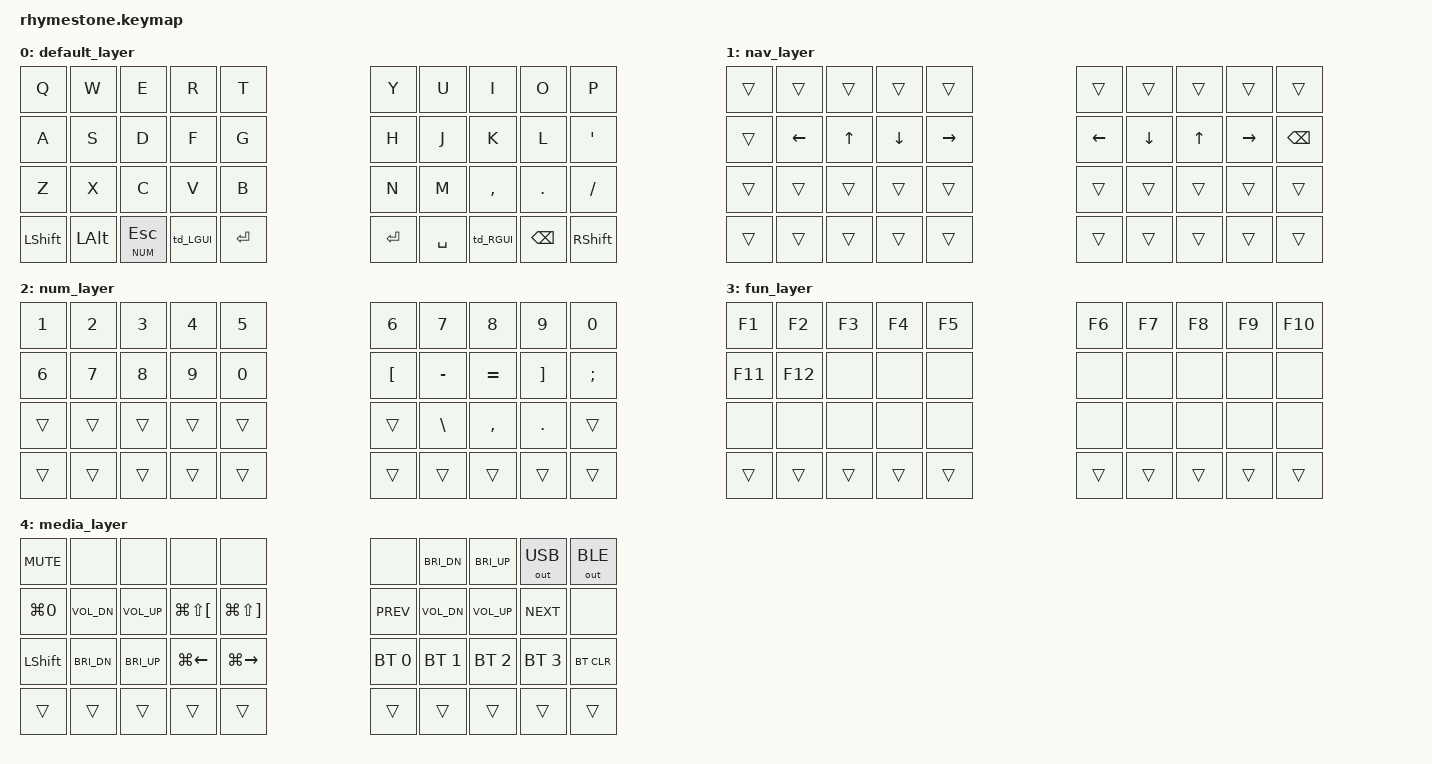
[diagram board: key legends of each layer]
/*
 * Copyright (c) 2020 The ZMK Contributors
 *
 * SPDX-License-Identifier: MIT
 */

#include <behaviors.dtsi>
#include <dt-bindings/zmk/keys.h>
#include <dt-bindings/zmk/bt.h>
#include <dt-bindings/zmk/outputs.h>


#define BASE        0
#define NAV         1
#define NUM         2
#define FUN         3
#define MEDIA       4


&lt { // layer-tap
  tapping-term-ms = <200>;
  quick-tap-ms = <200>;
  flavor = "hold-preferred";
};

/ {


  behaviors { 
    td_LGUI: tap_dance_LGUI {
      compatible = "zmk,behavior-tap-dance";
      label = "TAP_DANCE_LGUI";
      #binding-cells = <0>;
      tapping-term-ms = <300>;
      bindings = <&kp LGUI>, <&kp LS(LGUI)>;
    };


    td_RGUI: tap_dance_RGUI {
      compatible = "zmk,behavior-tap-dance";
      label = "TAP_DANCE_RGUI";
      #binding-cells = <0>;
      tapping-term-ms = <300>;
      bindings = <&kp RGUI>, <&kp LS(RGUI)>;
    };

    
    td_RSHIFT: tap_dance_RSHIFT {
      compatible = "zmk,behavior-tap-dance";
      label = "TAP_DANCE_RSHIFT";
      #binding-cells = <0>;
      tapping-term-ms = <300>;
      bindings = <&kp RSHIFT>, <&kt RSHIFT>;
    };

    td_LSHIFT: tap_dance_LSHIFT {
      compatible = "zmk,behavior-tap-dance";
      label = "TAP_DANCE_LSHIFT";
      #binding-cells = <0>;
      tapping-term-ms = <300>;
      bindings = <&kp LSHIFT>, <&kt LSHIFT>;
    };
  };

   combos {
    compatible = "zmk,combos";   

    // toggle_cmk_dh {
    //   timeout-ms = <50>;
    //   key-positions=<0 1 8 9>;
    //   bindings=<&tog CMK_DH>;
    // };

    media_layer { 
      timeout-ms = <50>;
      key-positions=<32 33>;
      bindings=<&mo MEDIA>;
    }; 
    

    num_layer { 
      timeout-ms = <50>;
      key-positions=<35 36>;
      bindings=<&mo NUM>;
    }; 

    fn_layer {
      timeout-ms = <50>;
      key-positions=<31 32>; 
      bindings=<&mo FUN>;
    };
    
    left_bspc {
      timeout-ms = <50>;
      key-positions=<0 10>;
      bindings=<&kp BSPC>;
    };

    tab {
      timeout-ms = <50>;
      key-positions=<11 12 13>;
      bindings=<&kp TAB>;
    };  

    tab2 {
      timeout-ms = <50>;
      key-positions=<16 17 18>;
      bindings=<&kp TAB>;
    };

    grave {
      timeout-ms = <50>;
      key-positions=<1 2 3>;
      bindings=<&kp GRAVE>;
    };

    grave2 {
      timeout-ms = <50>;
      key-positions=<6 7 8>;
      bindings=<&kp GRAVE>;
    };

    shift_tab {
      timeout-ms = <50>;
      key-positions=<21 22 23>;
      bindings=<&kp LS(TAB)>;
    };

    shift_tab2 {
      timeout-ms = <50>;
      key-positions=<26 27 28>;
      bindings=<&kp LS(TAB)>;
    };

    left {
      timeout-ms = <50>;
      key-positions=<11 21>; 
      bindings=<&kp LEFT>;
    };

    left_2 {
      timeout-ms = <50>;
      key-positions=<15 25>; 
      bindings=<&kp LEFT>;
    };

    up {
      timeout-ms = <50>;
      key-positions=<12 22>; 
      bindings=<&kp UP>;
    };
    
    up_2 {
      timeout-ms = <50>;
      key-positions=<17 27>; 
      bindings=<&kp UP>;
    };
    
    down {
      timeout-ms = <50>;
      key-positions=<13 23>; 
      bindings=<&kp DOWN>;
    };
    
    down_2 {
      timeout-ms = <50>;
      key-positions=<16 26>; 
      bindings=<&kp DOWN>;
    };
    
    right {
      timeout-ms = <50>;
      key-positions=<14 24>; 
      bindings=<&kp RIGHT>;
    };

    right_2 {
      timeout-ms = <50>;
      key-positions=<18 28>; 
      bindings=<&kp RIGHT>;
    };

    caps { 
      timeout-ms = <50>;
      key-positions=<5 6>;
      bindings=<&kp CAPS>;
    };

    space { 
      timeout-ms = <50>;
      key-positions=<24 34>;
      bindings=<&kp SPACE>;
    };

    space_2 { 
      timeout-ms = <50>;
      key-positions=<13 14>;
      bindings=<&kp SPACE>;
    };

    semi_colon {
      timeout-ms = <50>;
      key-positions=<19 34>;
      bindings=<&kp SEMI>;
    };

    colon  {
      timeout-ms = <50>;
      key-positions=<10 19 34>;
      bindings=<&kp COLON>;
    };
  
    // modifiers
    l_shift {
      timeout-ms = <75>;
      key-positions = <20 21>;
      bindings = <&sk LSHFT>;
    };

    l_ctrl {
      timeout-ms = <50>;
      key-positions = <21 22>;
      bindings = <&sk LCTRL>;
    };

    l_gui {
      timeout-ms = <50>;
      key-positions = <22 23>;
      bindings = <&sk LGUI>;
    };

    l_alt {
      timeout-ms = <50>;
      key-positions = <23 24>;
      bindings = <&sk LALT>;
    };

    l_shift_pinky {
      timeout-ms = <75>;
      key-positions=<10 20>;
      bindings=<&td_LSHIFT>;
    };

    r_shift_pinky {
      timeout-ms = <75>;
      key-positions=<19 29>;
      bindings=<&td_RSHIFT>;
    };

    r_alt {
      timeout-ms = <50>;
      key-positions = <25 26>;
      bindings = <&sk RALT>;
    };

    r_gui {
      timeout-ms = <50>;
      key-positions = <26 27>;
      bindings = <&sk RGUI>;
    };

    r_ctrl {
      timeout-ms = <50>;
      key-positions = <27 28>;
      bindings = <&sk RCTRL>;
    };

    r_shift {
      timeout-ms = <75>;
      key-positions = <28 29>;
      bindings = <&sk RSHFT>;
    };
  };

        keymap {
                compatible = "zmk,keymap";

                default_layer {
                        bindings = <
   &kp Q &kp W &kp E &kp R &kp T                   &kp Y &kp U  &kp I     &kp O   &kp P
   &kp A &kp S &kp D &kp F &kp G                   &kp H &kp J  &kp K     &kp L   &kp SQT
   &kp Z &kp X &kp C &kp V &kp B                   &kp N &kp M  &kp COMMA &kp DOT &kp FSLH
   &kp LSHFT &kp LALT &lt NUM ESC &td_LGUI &kp RET       &kp RET &kp SPACE &td_RGUI &kp BSPC &kp RSHFT
                        >;
                                    

                };
                nav_layer {
                        bindings = <
   &trans &trans &trans &trans &trans             &trans &trans &trans &trans &trans
   &trans &kp LEFT &kp UP &kp DOWN &kp RIGHT      &kp LEFT &kp DOWN &kp UP &kp RIGHT &kp BSPC
   &trans &trans &trans &trans &trans             &trans &trans &trans &trans &trans
   &trans &trans &trans &trans &trans             &trans &trans &trans &trans &trans
                        >;
                };

                      
                num_layer {
                        bindings = <
    &kp N1 &kp N2 &kp N3 &kp N4 &kp N5           &kp N6 &kp N7 &kp N8 &kp N9 &kp N0 
    &kp N6 &kp N7 &kp N8 &kp N9 &kp N0           &kp LBKT &kp MINUS &kp EQUAL &kp RBKT &kp SEMI 
   &trans &trans &trans &trans &trans            &trans &kp BSLH &kp COMMA &kp DOT &trans 
   &trans &trans &trans &trans &trans            &trans &trans &trans &trans &trans 
                        >;
                };

                  fun_layer {
                        bindings = <
    &kp F1 &kp F2 &kp F3 &kp F4 &kp F5           &kp F6 &kp F7 &kp F8 &kp F9 &kp F10 
    &kp F11 &kp F12 &none &none &none           &none &none &none &none &none 
        &none &none &none &none &none           &none &none &none &none &none 
    &trans &trans &trans &trans &trans    &trans &trans &trans &trans &trans 
                        >;
                };


    media_layer {
            bindings = <
              &kp C_MUTE &none &none &none &none     &none &kp C_BRI_DN &kp C_BRI_UP &out OUT_USB &out OUT_BLE 
    &kp LG(N0) &kp C_VOL_DN &kp C_VOL_UP &kp LG(LS(LBKT)) &kp LG(LS(RBKT))    &kp C_PREV &kp C_VOL_DN &kp C_VOL_UP &kp C_NEXT &none
          &kp LSHIFT &kp C_BRI_DN &kp C_BRI_UP &kp LG(LEFT) &kp LG(RIGHT)    &bt BT_SEL 0 &bt BT_SEL 1 &bt BT_SEL 2 &bt BT_SEL 3 &bt BT_CLR  
               &trans &trans &trans &trans &trans    &trans &trans &trans &trans &trans 
            >;

    };

        };
};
